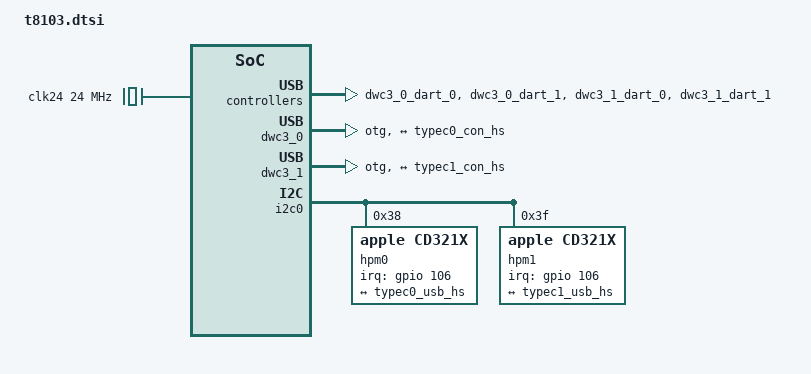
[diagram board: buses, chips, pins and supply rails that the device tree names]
// SPDX-License-Identifier: GPL-2.0+ OR MIT
/*
 * Apple T8103 "M1" SoC
 *
 * Other names: H13G, "Tonga"
 *
 * Copyright The Asahi Linux Contributors
 */

#include <dt-bindings/interrupt-controller/apple-aic.h>
#include <dt-bindings/interrupt-controller/irq.h>
#include <dt-bindings/pinctrl/apple.h>

/ {
	compatible = "apple,t8103", "apple,arm-platform";

	#address-cells = <2>;
	#size-cells = <2>;

	cpus {
		#address-cells = <2>;
		#size-cells = <0>;

		cpu0: cpu@0 {
			compatible = "apple,icestorm";
			device_type = "cpu";
			reg = <0x0 0x0>;
			enable-method = "spin-table";
			cpu-release-addr = <0 0>; /* To be filled by loader */
		};

		cpu1: cpu@1 {
			compatible = "apple,icestorm";
			device_type = "cpu";
			reg = <0x0 0x1>;
			enable-method = "spin-table";
			cpu-release-addr = <0 0>; /* To be filled by loader */
		};

		cpu2: cpu@2 {
			compatible = "apple,icestorm";
			device_type = "cpu";
			reg = <0x0 0x2>;
			enable-method = "spin-table";
			cpu-release-addr = <0 0>; /* To be filled by loader */
		};

		cpu3: cpu@3 {
			compatible = "apple,icestorm";
			device_type = "cpu";
			reg = <0x0 0x3>;
			enable-method = "spin-table";
			cpu-release-addr = <0 0>; /* To be filled by loader */
		};

		cpu4: cpu@10100 {
			compatible = "apple,firestorm";
			device_type = "cpu";
			reg = <0x0 0x10100>;
			enable-method = "spin-table";
			cpu-release-addr = <0 0>; /* To be filled by loader */
		};

		cpu5: cpu@10101 {
			compatible = "apple,firestorm";
			device_type = "cpu";
			reg = <0x0 0x10101>;
			enable-method = "spin-table";
			cpu-release-addr = <0 0>; /* To be filled by loader */
		};

		cpu6: cpu@10102 {
			compatible = "apple,firestorm";
			device_type = "cpu";
			reg = <0x0 0x10102>;
			enable-method = "spin-table";
			cpu-release-addr = <0 0>; /* To be filled by loader */
		};

		cpu7: cpu@10103 {
			compatible = "apple,firestorm";
			device_type = "cpu";
			reg = <0x0 0x10103>;
			enable-method = "spin-table";
			cpu-release-addr = <0 0>; /* To be filled by loader */
		};
	};

	timer {
		compatible = "arm,armv8-timer";
		interrupt-parent = <&aic>;
		interrupt-names = "phys", "virt", "hyp-phys", "hyp-virt";
		interrupts = <AIC_FIQ AIC_TMR_GUEST_PHYS IRQ_TYPE_LEVEL_HIGH>,
			     <AIC_FIQ AIC_TMR_GUEST_VIRT IRQ_TYPE_LEVEL_HIGH>,
			     <AIC_FIQ AIC_TMR_HV_PHYS IRQ_TYPE_LEVEL_HIGH>,
			     <AIC_FIQ AIC_TMR_HV_VIRT IRQ_TYPE_LEVEL_HIGH>;
	};

	clk24: clock-24m {
		compatible = "fixed-clock";
		#clock-cells = <0>;
		clock-frequency = <24000000>;
		clock-output-names = "clk24";
	};

	soc {
		compatible = "simple-bus";
		#address-cells = <2>;
		#size-cells = <2>;

		ranges;
		nonposted-mmio;

		serial0: serial@235200000 {
			compatible = "apple,s5l-uart";
			reg = <0x2 0x35200000 0x0 0x1000>;
			reg-io-width = <4>;
			interrupt-parent = <&aic>;
			interrupts = <AIC_IRQ 605 IRQ_TYPE_LEVEL_HIGH>;
			/*
			 * TODO: figure out the clocking properly, there may
			 * be a third selectable clock.
			 */
			clocks = <&clk24>, <&clk24>;
			clock-names = "uart", "clk_uart_baud0";
			status = "disabled";
		};

		aic: interrupt-controller@23b100000 {
			compatible = "apple,t8103-aic", "apple,aic";
			#interrupt-cells = <3>;
			interrupt-controller;
			reg = <0x2 0x3b100000 0x0 0x8000>;
		};

		dwc3_0_dart_0: iommu@382f00000 {
			compatible = "apple,t8103-dart";
			reg = <0x3 0x82f00000 0x0 0x4000>;
			interrupt-parent = <&aic>;
			interrupts = <AIC_IRQ 781 IRQ_TYPE_LEVEL_HIGH>;
			#iommu-cells = <1>;
		};

		dwc3_0_dart_1: iommu@382f80000 {
			compatible = "apple,t8103-dart";
			reg = <0x3 0x82f80000 0x0 0x4000>;
			interrupt-parent = <&aic>;
			interrupts = <AIC_IRQ 781 IRQ_TYPE_LEVEL_HIGH>;
			#iommu-cells = <1>;
		};

		dwc3_0: usb@382280000{
			compatible = "snps,dwc3";
			snps,role-switch-reinit-quirk;
			reg = <0x3 0x82280000 0x0 0x100000>;
			interrupt-parent = <&aic>;
			interrupts = <AIC_IRQ 777 IRQ_TYPE_LEVEL_HIGH>;
			dr_mode = "otg";
			usb-role-switch;
			role-switch-default-mode = "host";
			iommus = <&dwc3_0_dart_0 0>, <&dwc3_0_dart_1 1>;
			#address-cells = <1>;
			#size-cells = <0>;

			port@0 {
				reg = <0>;
				typec0_usb_hs: endpoint {
					remote-endpoint = <&typec0_con_hs>;
				};
			};
		};

		dwc3_1_dart_0: iommu@502f00000 {
			compatible = "apple,t8103-dart";
			reg = <0x5 0x02f00000 0x0 0x4000>;
			interrupt-parent = <&aic>;
			interrupts = <AIC_IRQ 861 IRQ_TYPE_LEVEL_HIGH>;
			#iommu-cells = <1>;
		};

		dwc3_1_dart_1: iommu@502f80000 {
			compatible = "apple,t8103-dart";
			reg = <0x5 0x02f80000 0x0 0x4000>;
			interrupt-parent = <&aic>;
			interrupts = <AIC_IRQ 861 IRQ_TYPE_LEVEL_HIGH>;
			#iommu-cells = <1>;
		};

		dwc3_1: usb@502280000{
			compatible = "snps,dwc3";
			snps,role-switch-reinit-quirk;
			reg = <0x5 0x02280000 0x0 0x100000>;
			interrupt-parent = <&aic>;
			interrupts = <AIC_IRQ 857 IRQ_TYPE_LEVEL_HIGH>;
			dr_mode = "otg";
			usb-role-switch;
			role-switch-default-mode = "host";
			iommus = <&dwc3_1_dart_0 0>, <&dwc3_1_dart_1 1>;
			#address-cells = <1>;
			#size-cells = <0>;

			port@0 {
			reg = <0>;
				typec1_usb_hs: endpoint {
					remote-endpoint = <&typec1_con_hs>;
				};
			};
		};

		i2c0: i2c0@20a110000 {
			compatible = "apple,t8103-i2c";
			reg = <0x2 0x35010000 0x0 0x4000>;
			clocks = <&clk24>, <&clk24>;
			clock-names = "gate", "ref";
			interrupt-parent = <&aic>;
			interrupts = <0 627 4>;
			pinctrl-0 = <&i2c0_pins>;
			pinctrl-names = "default";
			#address-cells = <0x1>;
			#size-cells = <0x0>;

			hpm0: hpm0@38 {
				compatible = "apple,cd321x";
				reg = <0x38>;
				interrupt-parent = <&gpio>;
				interrupts = <106 IRQ_TYPE_LEVEL_LOW>;
				interrupt-names = "irq";
				typec0: connector {
					compatible = "usb-c-connector";
					label = "USB-C A";
					power-role = "dual";
					data-role = "dual";

					ports {
						#address-cells = <1>;
						#size-cells = <0>;
						port@0 {
							reg = <0>;
							typec0_con_hs: endpoint {
								remote-endpoint = <&typec0_usb_hs>;
							};
						};
					};
				};
			};

			hpm1: hpm1@3f {
				compatible = "apple,cd321x";
				reg = <0x3f>;
				interrupt-parent = <&gpio>;
				interrupts = <106 IRQ_TYPE_LEVEL_LOW>;
				interrupt-names = "irq";

				typec1: connector {
					compatible = "usb-c-connector";
					label = "USB-C B";
					power-role = "dual";
					data-role = "dual";

					ports {
						#address-cells = <1>;
						#size-cells = <0>;
						port@0 {
							reg = <0>;
							typec1_con_hs: endpoint {
								remote-endpoint = <&typec1_usb_hs>;
							};
						};
					};
				};
			};
		};


		gpio: pinctrl@23c100000 {
			compatible = "apple,t8103-pinctrl", "apple,pinctrl";
			reg = <0x2 0x3c100000 0x0 0x100000>;

			interrupt-parent = <&aic>;
			interrupts = <AIC_IRQ 190 IRQ_TYPE_LEVEL_HIGH
			              AIC_IRQ 191 IRQ_TYPE_LEVEL_HIGH
			              AIC_IRQ 192 IRQ_TYPE_LEVEL_HIGH
			              AIC_IRQ 193 IRQ_TYPE_LEVEL_HIGH
			              AIC_IRQ 194 IRQ_TYPE_LEVEL_HIGH
			              AIC_IRQ 195 IRQ_TYPE_LEVEL_HIGH
			              AIC_IRQ 196 IRQ_TYPE_LEVEL_HIGH>;

			clocks = <&clk24>;

			gpio-controller;
			#gpio-cells = <2>;
			gpio-ranges = <&gpio 0 0 212>;

			interrupt-controller;
			#interrupt-cells = <2>;

			i2c0_pins: i2c0-pins {
				pinmux = <APPLE_PINMUX(192, 1)>,
					<APPLE_PINMUX(188, 1)>;
			};
		};
	};
};
